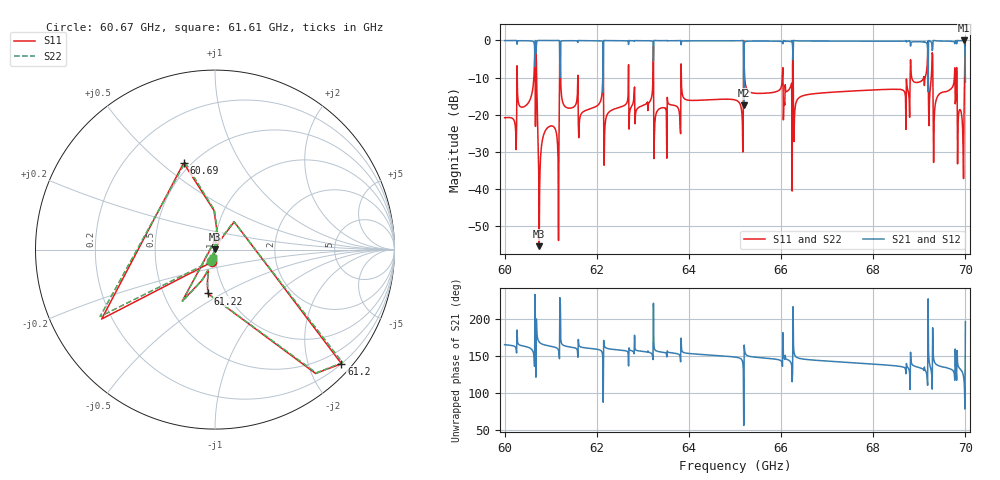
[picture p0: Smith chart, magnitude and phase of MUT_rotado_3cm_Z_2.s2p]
! TOUCHSTONE file generated by CST MICROWAVE STUDIO
! Date and time: Sat Feb 24 20:43:27 2024
! Project name: material_angular.cst
! Parameters = {Z=2.5; Y=2}
! Header version: 2018
! Port assignment regex: !\s*Touchstone port\s*([0-9]+)\s*=\s*(CST MWS port|CST DS port)\s*([0-9]+|Zmin|Zmax)\s*\(\"(.*)\"\)(\s*mode\s*([0-9]+))?.*
! Touchstone port assignment:
! Touchstone port 1 = CST MWS port 1 ("")
! Touchstone port 2 = CST MWS port 2 ("")
# GHz S MA R 376.7
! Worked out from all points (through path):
!   1001 points, 60 GHz to 70 GHz, reference 376.7 ohm
!   highest |S21| = 0.00 dB at 69.96 GHz (marker M1); lowest = -17.4 dB at 65.19 GHz (marker M2)
!   lowest |S11| = -55.5 dB at 60.75 GHz (marker M3), VSWR 1.00, Z = 377 + j1.25 ohm
!   |S11| at or under -10 dB: 63.84 GHz to 65.18 GHz (1.349 GHz wide, 2.09 % of centre); 65.21 GHz to 66.03 GHz (815.7 MHz wide, 1.24 % of centre); 66.26 GHz to 68.8 GHz (2.537 GHz wide, 3.76 % of centre)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
!   |S22| runs from -55.5 to -0.1 dB; largest |S21 - S12| = 0
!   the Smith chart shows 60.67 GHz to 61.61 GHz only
!   S11 on the Smith chart (normalised r, x): 60.67 GHz: 0.96, -0.13; 60.69 GHz: 0.46, +0.60; 61.2 GHz: 0.20, -2.59; 61.22 GHz: 0.82, -0.43; 61.61 GHz: 0.97, -0.09
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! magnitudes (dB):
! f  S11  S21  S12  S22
! 60 GHz  -20.9  0.0  0.0  -20.9
! 60.67 GHz  -23.2  0.0  0.0  -23.2
! 60.69 GHz  -5.8  -1.3  -1.3  -5.8
! 60.75 GHz  -55.5  0.0  0.0  -55.5
! 60.97 GHz  -23.2  0.0  0.0  -23.2
! 61.13 GHz  -25.5  0.0  0.0  -25.5
! 61.2 GHz  -0.5  -10.0  -10.0  -0.5
! 61.22 GHz  -12.1  -0.3  -0.3  -12.1
! 61.61 GHz  -26.2  0.0  0.0  -26.2
! 61.67 GHz  -19.7  0.0  0.0  -19.7
! 62.09 GHz  -16.1  -0.1  -0.1  -16.1
! 63.34 GHz  -18.6  -0.1  -0.1  -18.6
! 65 GHz  -16.0  -0.1  -0.1  -16.0
! 65.19 GHz  -0.1  -17.4  -17.4  -0.1
! 66.67 GHz  -14.4  -0.2  -0.2  -14.4
! 68.34 GHz  -13.2  -0.2  -0.2  -13.2
! 69.14 GHz  -9.4  -0.5  -0.5  -9.4
! 69.35 GHz  -17.0  -0.1  -0.1  -17.0
! 69.72 GHz  -12.5  -0.2  -0.2  -12.5
! 69.91 GHz  -19.5  -0.1  -0.1  -19.4
! 69.96 GHz  -37.3  0.0  0.0  -37.0
! 70 GHz  -0.3  -11.2  -11.2  -0.3
